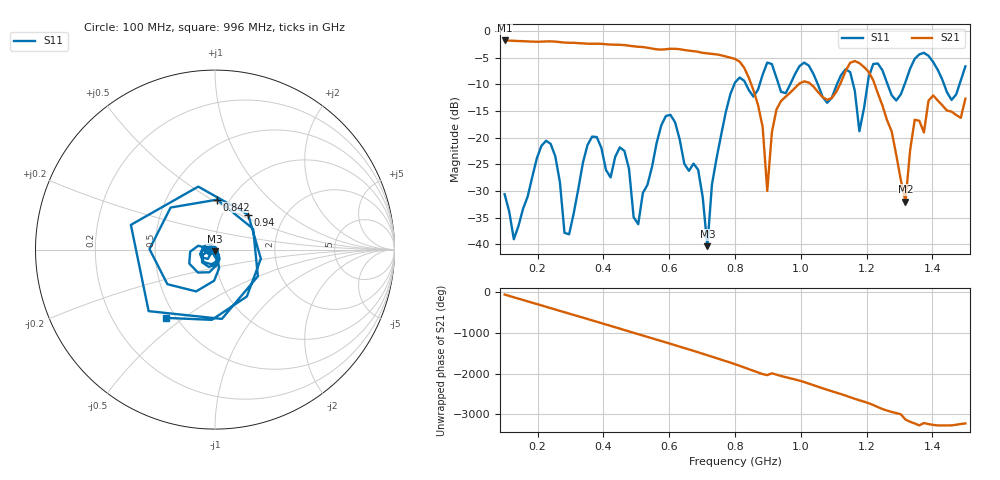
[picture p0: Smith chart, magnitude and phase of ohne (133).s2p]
! NanoVNA-App
! Date: 2025-09-25 14:21:50
! Start: 100MHz Stop: 1,5GHz Points: 101
! S-Parameter data: F S11 S21 S12 S22
# Hz S RI R 50
!  Frequency  S11_Real  S11_Imag  S21_Real  S21_Imag  S12_Real  S12_Imag  S22_Real  S22_Imag
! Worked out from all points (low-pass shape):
!   101 points, 100 MHz to 1.5 GHz, reference 50 ohm
!   highest |S21| = -1.79 dB at 100 MHz (marker M1); lowest = -32.0 dB at 1.318 GHz (marker M2)
!   |S21| within 3 dB of the highest: start of sweep to 771.8 MHz
!   lowest |S11| = -40.4 dB at 716 MHz (marker M3), VSWR 1.02, Z = 49.7 - j0.917 ohm
!   |S11| at or under -10 dB: start of sweep to 798 MHz; 833.2 MHz to 875.1 MHz (41.89 MHz wide, 4.9 % of centre); 1.052 GHz to 1.11 GHz (58.34 MHz wide, 5.4 % of centre) (the widest 3 of 7)
!   S12 and S22 are empty: the file has one direction only
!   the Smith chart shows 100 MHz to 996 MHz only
!   S11 on the Smith chart (normalised r, x): 100 MHz: 0.94, -0.01; 842 MHz: 0.88, +0.53; 940 MHz: 1.32, +0.55; 996 MHz: 0.44, -0.43
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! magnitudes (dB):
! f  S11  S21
! 100 MHz  -30.6  -1.8
! 128 MHz  -39.1  -1.9
! 226 MHz  -20.6  -2.0
! 296 MHz  -38.1  -2.2
! 338 MHz  -24.7  -2.3
! 464 MHz  -22.5  -2.7
! 506 MHz  -36.3  -3.0
! 576 MHz  -17.7  -3.5
! 688 MHz  -26.0  -3.9
! 716 MHz  -40.4  -4.2
! 800 MHz  -9.7  -5.3
! 842 MHz  -11.1  -8.8
! 898 MHz  -5.9  -30.0
! 940 MHz  -11.4  -13.1
! 996 MHz  -6.6  -9.9
! 1.038 GHz  -8.0  -10.4
! 1.178 GHz  -18.8  -6.0
! 1.22 GHz  -6.2  -9.3
! 1.276 GHz  -12.1  -18.8
! 1.318 GHz  -9.6  -32.0
! 1.346 GHz  -5.2  -16.7
! 1.5 GHz  -6.7  -12.7
